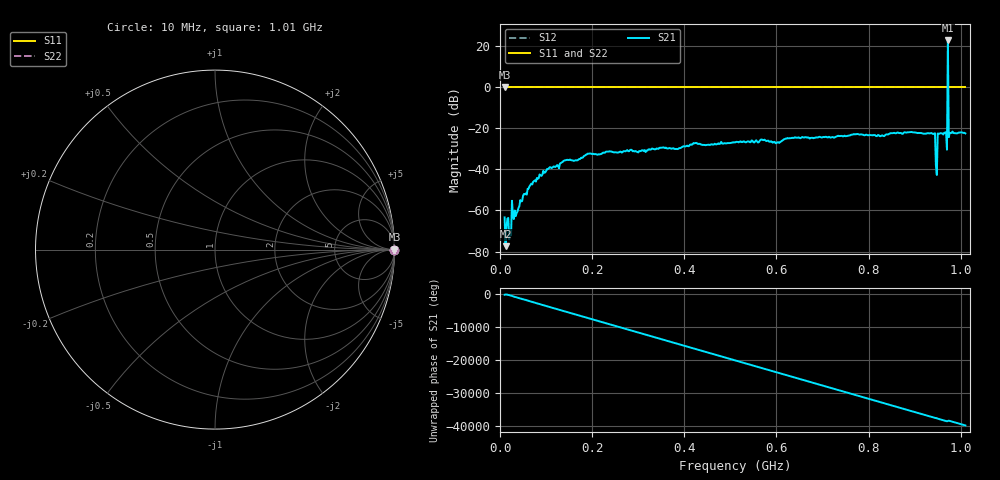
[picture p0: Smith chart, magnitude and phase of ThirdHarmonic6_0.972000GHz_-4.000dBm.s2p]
! 8/16/2025 7:23:04 AM
! C:\ANRITSUVNA\TEMP\TEMP.S2P
! CHANNEL.1
! TR.MEASUREMENT
! RAW.DATA
! RF.CORRECTION.OFF
! AVERAGING.OFF
! IF.BANDWIDTH: 5KHZ
! SWEEPTYPE:  FREQ.SWEEP(Linear)
! Reference Plane Port Info
! PORT:  PORT1  PORT2
! DISTANCE:  0  m  0  m
! TIME:  0  s  0  s
! PHASE.OFFSET:  0  deg.  0  deg.
! LOSS:  0  dB  0  dB
! REF.LOSS:  0  dB  0  dB
! REF.FREQ:  0  Hz  0  Hz
! Power Info
! POWER:  -20  dBm  -20  dBm
! EFF.POWER:  -20  dBm  -20  dBm
! SOURCE.ATTEN:  0  dB  0  dB
! TEST.ATTEN:  0  dB  0  dB
# GHZ S RI R 50.0
! FREQ.GHZ  S11RE  S11IM  S21RE  S21IM  S12RE  S12IM  S22RE  S22IM
!; PortSelection: Port_12
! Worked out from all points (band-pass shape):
!   501 points, 10 MHz to 1.01 GHz, reference 50 ohm
!   highest |S21| = 22.54 dB at 972 MHz (marker M1); lowest = -77.4 dB at 12 MHz (marker M2)
!   |S21| within 3 dB of the highest: 971.8868 MHz to 972.1278 MHz (240.9 kHz wide, 0.0248 % of centre)
!   lowest |S11| = 0.0 dB at 10 MHz (marker M3)
!   |S11| at or under -10 dB: nowhere
!   |S22| runs from 0.0 to 0.0 dB; largest |S21 - S12| = 14
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0.01  1 0  9e-06 -0.000677  1 0  1 0
0.012  1 0  0.000114 -7.34e-05  1 0  1 0
0.02  1 0  -0.000194 -3.71e-05  1 0  1 0
0.03  1 0  0.00017 0.000593  1 0  1 0
0.034  1 0  0.00016 -0.000707  1 0  1 0
0.064  1 0  -0.00311 0.00229  1 0  1 0
0.09  1 0  -0.00609 0.00321  1 0  1 0
0.178  1 0  -0.0182 -0.00503  1 0  1 0
0.344  1 0  0.031 -0.00431  1 0  1 0
0.51  1 0  -0.0435 0.0104  1 0  1 0
0.678  1 0  -0.0179 -0.0551  1 0  1 0
0.844  1 0  0.0377 0.0609  1 0  1 0
0.94  1 0  -0.0598 0.0395  1 0  1 0
0.944  1 0  0.0726 -0.0176  1 0  1 0
0.95  1 0  -0.0207 0.071  1 0  1 0
0.954  1 0  0.043 -0.0593  1 0  1 0
0.966  1 0  -0.0774 -0.00523  1 0  1 0
0.968  1 0  -0.0172 0.0776  1 0  1 0
0.972  1 0  -6.21 11.86  1 0  1 0
0.976  1 0  -0.0569 0.051  1 0  1 0
0.978  1 0  0.041 0.0641  1 0  1 0
1.01  1 0  -0.0659 -0.0342  1 0  1 0
